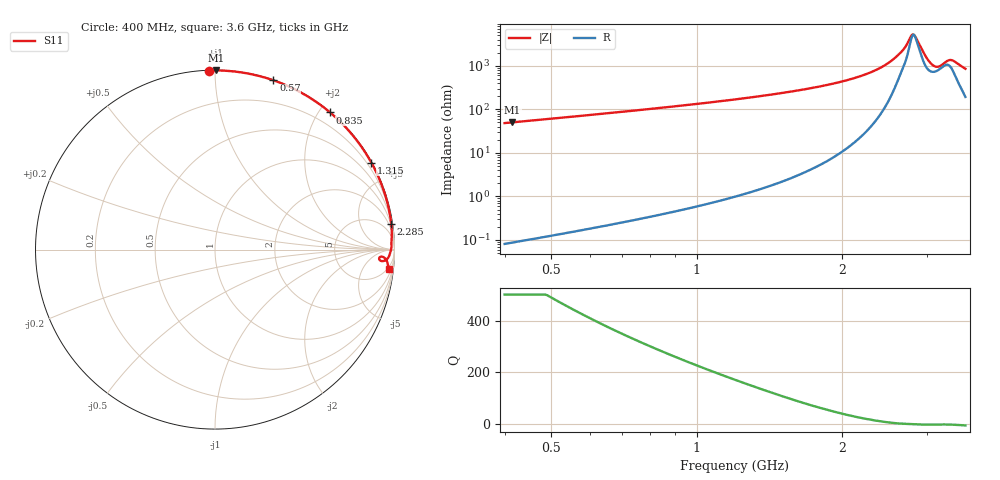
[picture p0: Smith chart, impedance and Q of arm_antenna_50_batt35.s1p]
! arm_antenna_50_batt35
! simulated by sim/rf_fdtd.py
# HZ S RI R 50
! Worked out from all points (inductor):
!   641 points, 400 MHz to 3.6 GHz, reference 50 ohm
!   read as one part to ground: L = 18.8 nH near 415 MHz
!   highest Q = 578 at 415 MHz (marker M1), where L = 19.3 nH
!   self-resonance near 2.817 GHz
!   S11 on the Smith chart (normalised r, x): 400 MHz: 0.00, +0.97; 570 MHz: 0.00, +1.40; 835 MHz: 0.01, +2.14; 1.315 GHz: 0.03, +3.85; 2.285 GHz: 1, +14; 3.6 GHz: 4, -17
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4e8  -0.0336 0.9978
4.15e8  0.00443 0.9983
4.9e8  0.1757 0.9824
5.7e8  0.3254 0.9433
6.25e8  0.411 0.9091
6.8e8  0.4845 0.872
7.4e8  0.5529 0.8302
8e8  0.6111 0.7883
8.35e8  0.6409 0.7641
9.15e8  0.6998 0.7104
1e9  0.7506 0.6564
1.095e9  0.7962 0.6
1.2e9  0.8363 0.5425
1.315e9  0.8707 0.4849
1.45e9  0.9018 0.4238
1.6e9  0.9277 0.3625
2e9  0.9688 0.2247
2.285e9  0.9821 0.1411
2.4e9  0.9846 0.1094
2.8e9  0.9817 0.00486
2.95e9  0.969 -0.0382
3.05e9  0.9431 -0.0625
3.135e9  0.918 -0.0588
3.2e9  0.9159 -0.0449
3.26e9  0.9276 -0.0391
3.325e9  0.9431 -0.0449
3.435e9  0.96 -0.0701
3.6e9  0.9677 -0.1107
